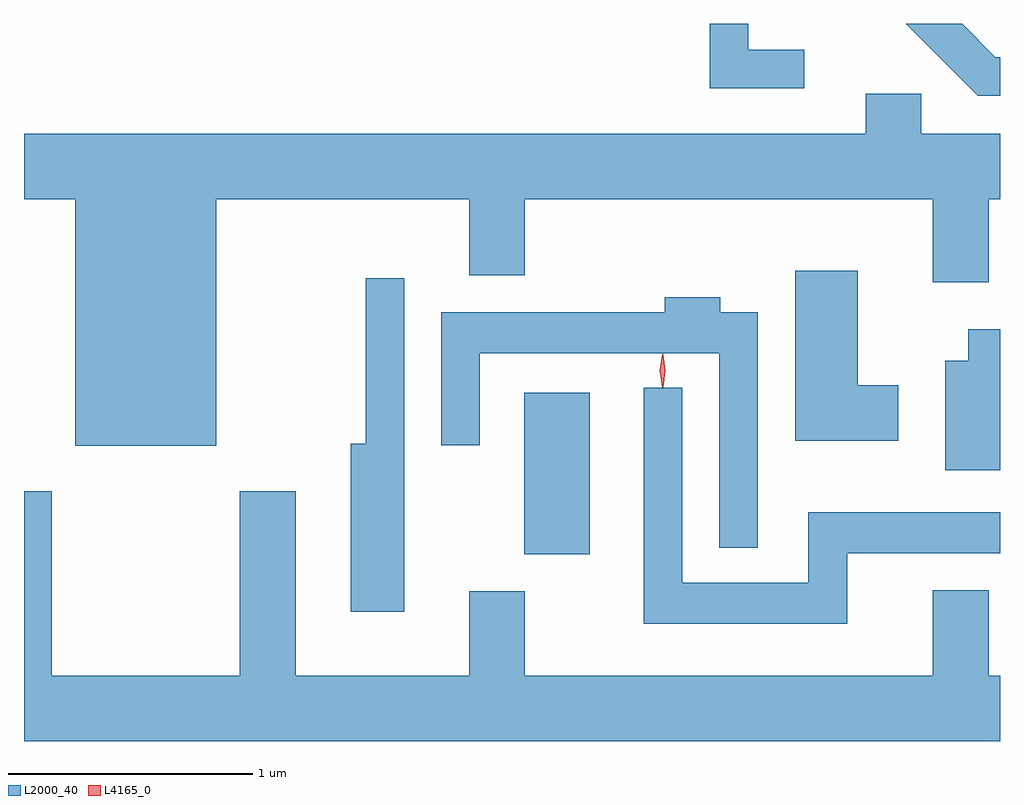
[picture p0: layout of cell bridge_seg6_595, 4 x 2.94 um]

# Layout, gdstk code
import gdstk
lib = gdstk.Library(unit=1e-6, precision=1e-09)
def R(c, l, rs):  # rectangles x0, y0, x1, y1
    for r in rs: c.add(gdstk.rectangle(r[:2], r[2:], *l))
def P(c, l, *ps):  # polygons
    for p in ps: c.add(gdstk.Polygon(p, *l))
L2000_40 = (2000, 40)
L4165_0 = (4165, 0)

bridge_seg6_595 = lib.new_cell('bridge_seg6_595')
R(bridge_seg6_595, L2000_40, [(508.676,1630.721,508.944,1631.384)])
P(bridge_seg6_595, L2000_40, [(509.823,1632.789),(509.594,1632.789),(509.594,1632.895),(509.436,1632.895),(509.436,1632.631),(509.823,1632.631)],
  [(510.626,1632.759),(510.607,1632.759),(510.471,1632.895),(510.24,1632.895),(510.534,1632.601),(510.626,1632.601)],
  [(507.414,1632.176),(508.451,1632.176),(508.451,1631.866),(508.679,1631.866),(508.679,1632.176),(510.351,1632.176),(510.351,1631.836),(510.579,1631.836),(510.579,1632.176),(510.626,1632.176),(510.626,1632.444),(510.304,1632.444),(510.304,1632.609),(510.076,1632.609),(510.076,1632.444),(506.626,1632.444),(506.626,1632.176),(506.836,1632.176),(506.836,1631.166),(507.414,1631.166)],
  [(510.209,1631.414),(510.044,1631.414),(510.044,1631.884),(509.786,1631.884),(509.786,1631.186),(510.209,1631.186)],
  [(508.184,1631.853),(508.026,1631.853),(508.026,1631.174),(507.966,1631.174),(507.966,1630.486),(508.184,1630.486)],
  [(509.634,1631.714),(509.479,1631.714),(509.479,1631.774),(509.251,1631.774),(509.251,1631.714),(508.336,1631.714),(508.336,1631.168),(508.494,1631.168),(508.494,1631.546),(509.476,1631.546),(509.476,1630.748),(509.634,1630.748)],
  [(510.626,1631.644),(510.496,1631.644),(510.496,1631.514),(510.401,1631.514),(510.401,1631.066),(510.626,1631.066)],
  [(509.999,1630.726),(510.626,1630.726),(510.626,1630.894),(509.841,1630.894),(509.841,1630.604),(509.324,1630.604),(509.324,1631.403),(509.166,1631.403),(509.166,1630.436),(509.999,1630.436)],
  [(510.626,1630.224),(510.579,1630.224),(510.579,1630.574),(510.351,1630.574),(510.351,1630.224),(508.679,1630.224),(508.679,1630.569),(508.451,1630.569),(508.451,1630.224),(507.739,1630.224),(507.739,1630.979),(507.511,1630.979),(507.511,1630.224),(506.739,1630.224),(506.739,1630.979),(506.626,1630.979),(506.626,1629.956),(510.626,1629.956)])
P(bridge_seg6_595, L4165_0, [(509.242,1631.407),(509.242,1631.407),(509.232,1631.474),(509.242,1631.54),(509.242,1631.54),(509.243,1631.54),(509.252,1631.474),(509.243,1631.407)],
  [(509.244,1631.404),(509.235,1631.473),(509.244,1631.542),(509.245,1631.543),(509.245,1631.542),(509.255,1631.473),(509.245,1631.404),(509.245,1631.404)])

lib.write_gds('bridge_seg6_595.gds')
